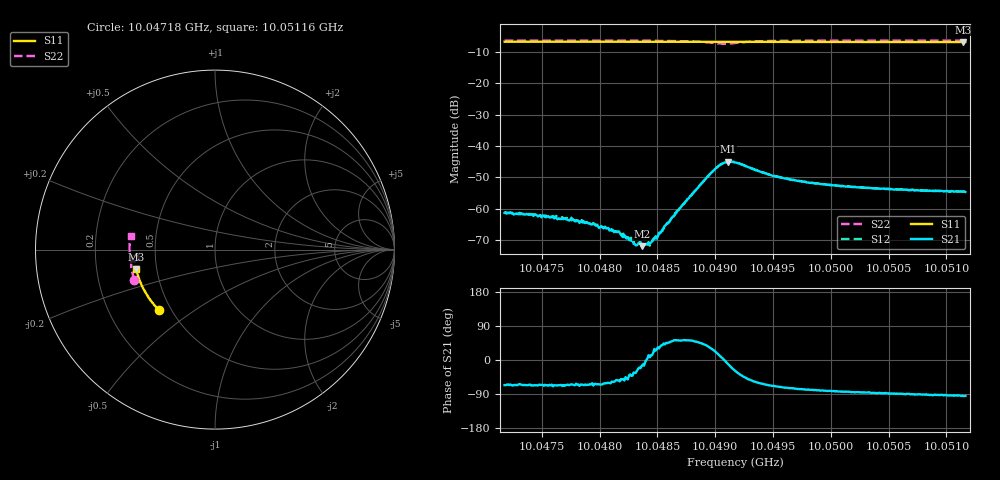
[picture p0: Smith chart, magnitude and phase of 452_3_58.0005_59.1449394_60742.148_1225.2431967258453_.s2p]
#  HZ  S  RI  R  50.00
! Rohde & Schwarz Vector Network Analyzer
! Rohde-Schwarz,ZNB20-2Port,1311601062101988,3.16
! Created: UTC 3/21/2024, 1:10:36 AM
! freq[Hz]  re:S11  im:S11  re:S21  im:S21  re:S12  im:S12  re:S22  im:S22
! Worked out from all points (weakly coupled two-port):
!   401 points, 10.04718 GHz to 10.05116 GHz, reference 50 ohm
!   highest |S21| = -45.00 dB at 10.04911 GHz (marker M1); lowest = -71.9 dB at 10.04836 GHz (marker M2)
!   lowest |S11| = -6.9 dB at 10.05114 GHz (marker M3), VSWR 2.65, Z = 19.1 - j5.28 ohm
!   |S11| at or under -10 dB: nowhere
!   |S22| runs from -7.4 to -6.4 dB; largest |S21 - S12| = 0.00041
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1.0047178e10  -0.3139 -0.3348  0.000348 -0.000794  0.000419 -0.000776  -0.4485 -0.1696
1.0047427e10  -0.3253 -0.323  0.000298 -0.000714  0.000379 -0.000728  -0.4537 -0.1535
1.0047766e10  -0.3403 -0.3062  0.000283 -0.000612  0.000317 -0.000615  -0.46 -0.1311
1.0047846e10  -0.3436 -0.3021  0.000265 -0.000561  0.000316 -0.000583  -0.4613 -0.1254
1.0047965e10  -0.3485 -0.2961  0.000249 -0.000483  0.000266 -0.000502  -0.463 -0.1171
1.0048155e10  -0.3563 -0.2862  0.000255 -0.000344  0.00026 -0.000316  -0.4655 -0.1034
1.0048204e10  -0.3583 -0.2837  0.000228 -0.000273  0.00028 -0.000294  -0.4659 -0.0998
1.0048314e10  -0.3627 -0.2778  0.000219 -0.000145  0.00025 -0.000157  -0.4671 -0.0914
1.0048364e10  -0.3645 -0.2753  0.000246 -6.85e-05  0.000258 -7.91e-05  -0.4674 -0.0875
1.0048414e10  -0.3663 -0.2725  0.000268 1.93e-05  0.000268 4.85e-05  -0.4676 -0.0835
1.0048444e10  -0.3674 -0.2708  0.000282 6.43e-05  0.000284 8.65e-05  -0.4678 -0.0809
1.0048513e10  -0.3701 -0.2671  0.000357 0.000209  0.000314 0.000274  -0.4677 -0.0751
1.0048673e10  -0.3758 -0.2584  0.000574 0.000731  0.000541 0.000778  -0.4662 -0.0601
1.0048942e10  -0.3848 -0.243  0.00273 0.00192  0.00265 0.00211  -0.445 -0.0342
1.0049042e10  -0.3881 -0.2376  0.0049 0.000947  0.00488 0.00127  -0.4264 -0.0401
1.0049111e10  -0.3902 -0.2337  0.00553 -0.00106  0.00561 -0.000714  -0.4235 -0.056
1.0049171e10  -0.3922 -0.2306  0.00483 -0.00262  0.00506 -0.00232  -0.4322 -0.0661
1.004951e10  -0.4028 -0.2108  0.00122 -0.0031  0.0014 -0.00306  -0.4692 -0.044
1.0049839e10  -0.4119 -0.1913  0.000507 -0.00256  0.000659 -0.00253  -0.4751 -0.0158
1.0050507e10  -0.4274 -0.1503  4.56e-05 -0.0021  0.000184 -0.00204  -0.4753 0.033
1.0051145e10  -0.4385 -0.1099  -0.000158 -0.00186  -1.94e-05 -0.00189  -0.47 0.0759
1.0051164e10  -0.4389 -0.1088  -0.000154 -0.00186  -6.66e-05 -0.00186  -0.4698 0.0773
